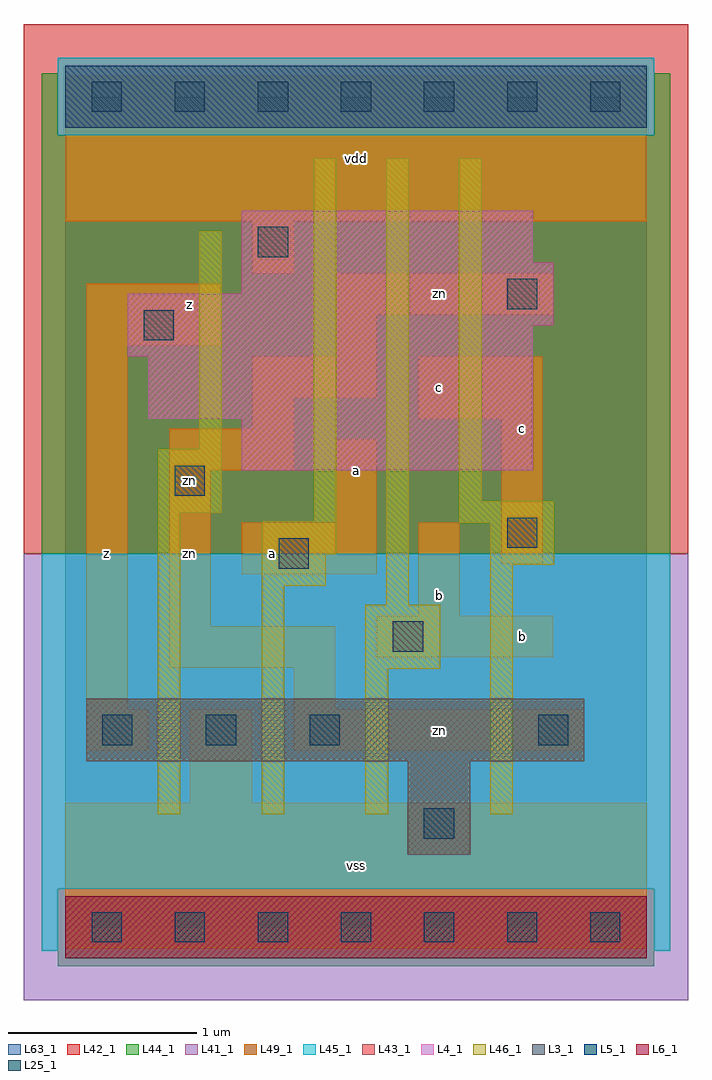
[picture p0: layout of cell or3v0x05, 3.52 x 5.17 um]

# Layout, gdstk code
import gdstk
lib = gdstk.Library(unit=1e-6, precision=1e-09)
def R(c, l, rs):  # rectangles x0, y0, x1, y1
    for r in rs: c.add(gdstk.rectangle(r[:2], r[2:], *l))
def A(c, l, x, y, w, h, nx, ny, dx, dy):  # array of equal rectangles
    R(c, l, [(x+i*dx, y+j*dy, x+i*dx+w, y+j*dy+h) for i in range(nx) for j in range(ny)])
L3_1 = (3, 1)
L4_1 = (4, 1)
L5_1 = (5, 1)
L6_1 = (6, 1)
L25_1 = (25, 1)
L41_1 = (41, 1)
L42_1 = (42, 1)
L43_1 = (43, 1)
L44_1 = (44, 1)
L45_1 = (45, 1)
L46_1 = (46, 1)
L49_1 = (49, 1)
L63_1 = (63, 1)

or3v0x05 = lib.new_cell('or3v0x05')
R(or3v0x05, L3_1, [(1.815,0.385,2.145,0.88), (0.11,0.88,2.75,1.21)])
R(or3v0x05, L4_1, [(0.935,2.42,2.475,2.695), (0.44,2.695,2.475,3.025), (0.33,3.025,2.475,3.19), (0.33,3.19,2.585,3.355), (0.935,3.355,2.585,3.52), (0.935,3.52,2.475,3.795)])
R(or3v0x05, L5_1, [(0,4.235,3.08,4.565)])
R(or3v0x05, L6_1, [(0,-0.165,3.08,0.165)])
A(or3v0x05, L25_1, 0.14, -0.08, 0.16, 0.16, 7, 2, 0.44, 4.4)
A(or3v0x05, L25_1, 0.195, 0.965, 0.16, 0.16, 3, 1, 0.55, 0)
R(or3v0x05, L25_1, [(1.9,0.47,2.06,0.63), (2.505,0.965,2.665,1.125), (1.735,1.46,1.895,1.62), (1.13,1.9,1.29,2.06), (2.34,2.01,2.5,2.17), (0.58,2.285,0.74,2.445), (0.415,3.11,0.575,3.27), (2.34,3.275,2.5,3.435), (1.02,3.55,1.18,3.71)])
R(or3v0x05, L41_1, [(-0.22,-0.385,3.3,1.98)])
R(or3v0x05, L42_1, [(-0.22,1.98,3.3,4.785)])
R(or3v0x05, L43_1, [(0,-0.165,3.08,0.165), (1.815,0.385,2.145,0.88), (0.11,0.88,2.75,1.21), (0.935,2.42,2.475,2.695), (0.44,2.695,2.475,3.025), (0.33,3.025,2.475,3.19), (0.33,3.19,2.585,3.355), (0.935,3.355,2.585,3.52), (0.935,3.52,2.475,3.795), (0,4.235,3.08,4.565)])
R(or3v0x05, L44_1, [(-0.04,-0.205,3.12,0.205), (-0.125,1.98,3.205,4.195), (-0.125,4.195,-0.04,4.525), (3.12,4.195,3.205,4.525)])
R(or3v0x05, L45_1, [(-0.125,-0.125,-0.04,0.205), (3.12,-0.125,3.205,0.205), (-0.125,0.205,3.205,1.98), (-0.04,4.195,3.12,4.605)])
R(or3v0x05, L46_1, [(0.49,0.6,0.61,2.195), (1.04,0.6,1.16,1.81), (1.59,0.6,1.71,1.37), (2.25,0.6,2.37,1.92), (1.59,1.37,1.985,1.71), (1.7,1.71,1.82,4.075), (1.04,1.81,1.38,1.975), (2.25,1.92,2.59,2.14), (1.04,1.975,1.435,2.15), (2.085,2.14,2.59,2.26), (1.315,2.15,1.435,4.075), (0.49,2.195,0.83,2.535), (2.085,2.26,2.205,4.075), (0.71,2.535,0.83,3.69)])
R(or3v0x05, L49_1, [(0,-0.11,3.08,0.66), (0.66,0.66,0.99,1.155), (0.11,0.935,0.44,1.155), (1.21,0.935,2.75,1.155), (0.11,1.155,0.33,3.08), (1.21,1.155,1.43,1.375), (0.55,1.375,1.43,1.595), (1.65,1.43,2.585,1.65), (0.55,1.595,0.77,2.42), (1.87,1.65,2.09,2.145), (0.935,1.87,1.65,2.145), (2.31,1.925,2.53,2.695), (1.43,2.145,1.65,2.585), (0.55,2.42,1.21,2.64), (0.99,2.64,1.21,2.805), (1.87,2.695,2.53,3.025), (0.99,2.805,1.65,3.025), (1.43,3.025,1.65,3.245), (0.11,3.08,0.825,3.41), (1.43,3.245,2.585,3.465), (0.99,3.465,1.21,3.74), (0,3.74,3.08,4.51)])
R(or3v0x05, L63_1, [(0,0,3.08,4.4)])
or3v0x05.add(gdstk.Label('zn', (0.66,2.365), layer=49, texttype=1))
or3v0x05.add(gdstk.Label('z', (0.22,1.98), layer=49, texttype=1))
or3v0x05.add(gdstk.Label('a', (1.1,1.98), layer=49, texttype=1))
or3v0x05.add(gdstk.Label('zn', (0.66,1.98), layer=49, texttype=1))
or3v0x05.add(gdstk.Label('z', (0.66,3.3), layer=49, texttype=1))
or3v0x05.add(gdstk.Label('vss', (1.54,0.33), layer=49, texttype=1))
or3v0x05.add(gdstk.Label('b', (1.98,1.76), layer=49, texttype=1))
or3v0x05.add(gdstk.Label('a', (1.54,2.42), layer=49, texttype=1))
or3v0x05.add(gdstk.Label('c', (1.98,2.86), layer=49, texttype=1))
or3v0x05.add(gdstk.Label('vdd', (1.54,4.07), layer=49, texttype=1))
or3v0x05.add(gdstk.Label('zn', (1.98,1.045), layer=49, texttype=1))
or3v0x05.add(gdstk.Label('b', (2.42,1.54), layer=49, texttype=1))
or3v0x05.add(gdstk.Label('c', (2.42,2.64), layer=49, texttype=1))
or3v0x05.add(gdstk.Label('zn', (1.98,3.355), layer=49, texttype=1))

lib.write_gds('or3v0x05.gds')
